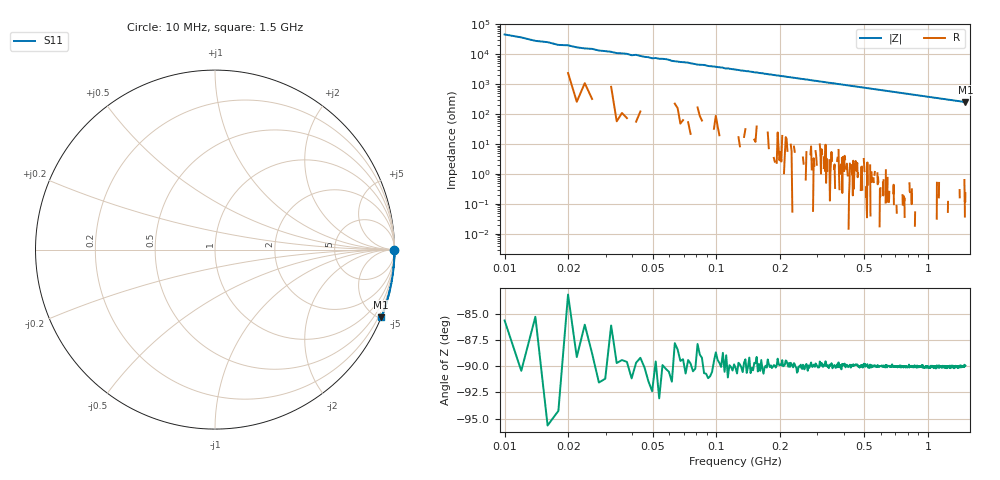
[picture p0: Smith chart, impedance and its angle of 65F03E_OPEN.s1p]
# Hz S RI R 50.000000
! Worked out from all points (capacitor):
!   751 points, 10 MHz to 1.5 GHz, reference 50 ohm
!   read as one part to ground: C = 419 fF near 15.96 MHz
!   lowest |Z| = 255 ohm at 1.5 GHz (marker M1)
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1e7  0.9998 -0.00216
5.569333e7  0.9999 -0.0141
6.96e7  0.9996 -0.0182
9.145333e7  1 -0.0245
1.0536e8  0.9997 -0.0275
1.192667e8  0.9997 -0.0315
1.967467e8  0.9985 -0.0512
2.4244e8  0.9986 -0.0631
3.834933e8  0.9953 -0.0993
4.7488e8  0.9927 -0.123
5.7024e8  0.9893 -0.1473
7.55e8  0.9811 -0.1948
8.5036e8  0.976 -0.2185
9.417467e8  0.9708 -0.2421
9.596267e8  0.9699 -0.246
1.015253e9  0.966 -0.2593
1.045053e9  0.9639 -0.2671
1.08876e9  0.9616 -0.2782
1.128493e9  0.9585 -0.288
1.21988e9  0.9507 -0.3099
1.245707e9  0.9492 -0.3161
1.27352e9  0.9473 -0.3228
1.289413e9  0.9452 -0.3271
1.31524e9  0.9436 -0.3332
1.36888e9  0.9381 -0.3461
1.384773e9  0.9366 -0.3503
1.41656e9  0.9342 -0.358
1.5e9  0.9254 -0.378
